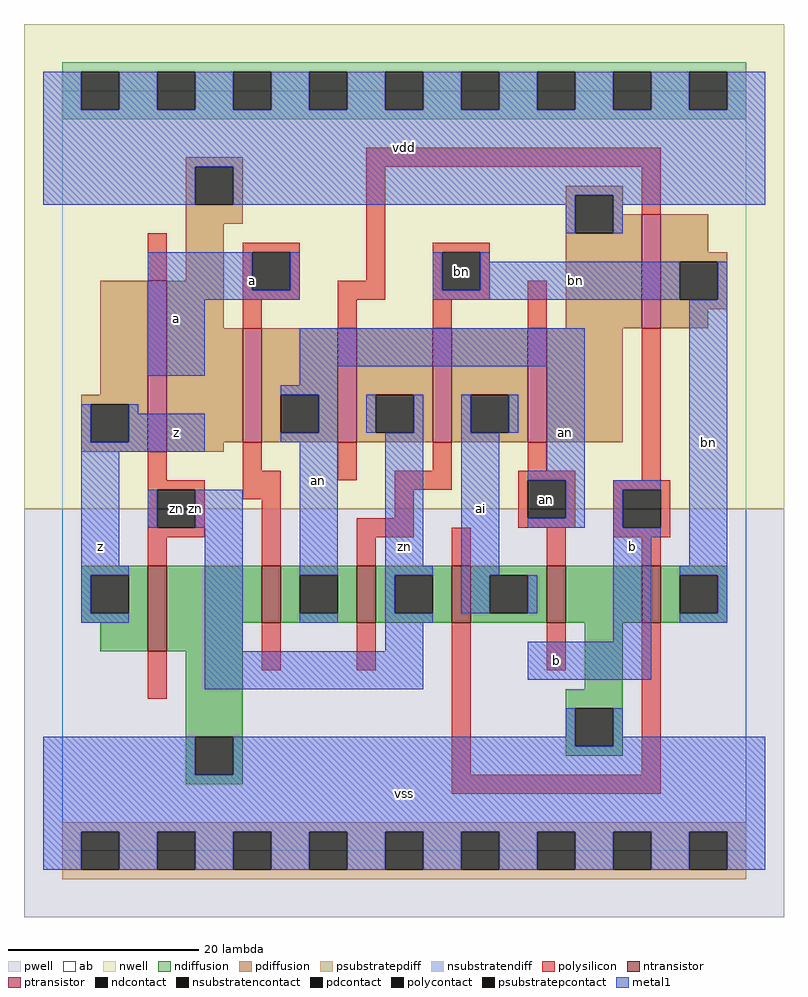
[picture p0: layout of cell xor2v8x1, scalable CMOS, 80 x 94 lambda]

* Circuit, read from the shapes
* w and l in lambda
.subckt xor2v8x1 a ai an b bn vdd vss z zn
M1 vss zn z vss nfet w=9 l=2
M2 an a vss vss nfet w=6 l=2
M3 zn bn an vss nfet w=6 l=2
M4 ai b zn vss nfet w=6 l=2
M5 vss an ai vss nfet w=6 l=2
M6 bn b vss vss nfet w=6 l=2
M7 vdd zn z vdd pfet w=18 l=2
M8 an a vdd vdd pfet w=12 l=2
M9 zn b an vdd pfet w=12 l=2
M10 ai bn zn vdd pfet w=12 l=2
M11 vdd an ai vdd pfet w=12 l=2
M12 bn b vdd vdd pfet w=12 l=2
.ends

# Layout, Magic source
magic
tech scmos
<< ab >>
rect 0 0 72 80
<< pwell >>
rect -4 -7 76 36
<< nwell >>
rect -4 36 76 87
<< polysilicon >>
rect 32 72 63 74
rect 9 60 11 65
rect 19 63 25 64
rect 19 59 20 63
rect 24 59 25 63
rect 32 60 34 72
rect 61 67 63 72
rect 19 58 25 59
rect 29 58 34 60
rect 39 63 45 64
rect 39 59 40 63
rect 44 59 45 63
rect 39 58 45 59
rect 19 55 21 58
rect 29 55 31 58
rect 39 55 41 58
rect 49 55 51 60
rect 9 39 11 42
rect 19 40 21 43
rect 9 38 15 39
rect 9 34 10 38
rect 14 34 15 38
rect 19 37 23 40
rect 29 39 31 43
rect 39 40 41 43
rect 49 40 51 43
rect 9 33 15 34
rect 9 30 11 33
rect 21 30 23 37
rect 35 38 41 40
rect 48 39 54 40
rect 61 39 63 55
rect 35 35 37 38
rect 31 33 37 35
rect 48 35 49 39
rect 53 35 54 39
rect 48 34 54 35
rect 58 38 64 39
rect 58 34 59 38
rect 63 34 64 38
rect 31 30 33 33
rect 41 30 43 34
rect 51 30 53 34
rect 58 33 64 34
rect 61 30 63 33
rect 9 16 11 21
rect 21 19 23 24
rect 31 19 33 24
rect 41 8 43 24
rect 51 19 53 24
rect 61 8 63 24
rect 41 6 63 8
<< ndiffusion >>
rect 2 29 9 30
rect 2 25 3 29
rect 7 25 9 29
rect 2 24 9 25
rect 4 21 9 24
rect 11 24 21 30
rect 23 29 31 30
rect 23 25 25 29
rect 29 25 31 29
rect 23 24 31 25
rect 33 29 41 30
rect 33 25 35 29
rect 39 25 41 29
rect 33 24 41 25
rect 43 29 51 30
rect 43 25 45 29
rect 49 25 51 29
rect 43 24 51 25
rect 53 24 61 30
rect 63 29 70 30
rect 63 25 65 29
rect 69 25 70 29
rect 63 24 70 25
rect 11 21 19 24
rect 13 12 19 21
rect 13 8 14 12
rect 18 8 19 12
rect 13 7 19 8
rect 55 17 59 24
rect 53 15 59 17
rect 53 11 54 15
rect 58 11 59 15
rect 53 10 59 11
<< pdiffusion >>
rect 13 72 19 73
rect 13 68 14 72
rect 18 68 19 72
rect 13 66 19 68
rect 13 60 17 66
rect 4 48 9 60
rect 2 47 9 48
rect 2 43 3 47
rect 7 43 9 47
rect 2 42 9 43
rect 11 55 17 60
rect 53 69 59 70
rect 53 65 54 69
rect 58 67 59 69
rect 58 65 61 67
rect 53 55 61 65
rect 63 63 68 67
rect 63 62 70 63
rect 63 58 65 62
rect 69 58 70 62
rect 63 57 70 58
rect 63 55 68 57
rect 11 43 19 55
rect 21 48 29 55
rect 21 44 23 48
rect 27 44 29 48
rect 21 43 29 44
rect 31 48 39 55
rect 31 44 33 48
rect 37 44 39 48
rect 31 43 39 44
rect 41 48 49 55
rect 41 44 43 48
rect 47 44 49 48
rect 41 43 49 44
rect 51 43 59 55
rect 11 42 17 43
<< metal1 >>
rect -2 78 2 82
rect 6 78 10 82
rect 14 78 18 82
rect 22 78 26 82
rect 30 78 34 82
rect 38 78 42 82
rect 46 78 50 82
rect 54 78 58 82
rect 62 78 66 82
rect 70 78 74 82
rect -2 72 74 78
rect -2 68 14 72
rect 18 69 74 72
rect 18 68 54 69
rect 53 65 54 68
rect 58 68 74 69
rect 58 65 59 68
rect 9 59 20 63
rect 24 59 25 63
rect 9 58 25 59
rect 39 59 40 63
rect 44 62 45 63
rect 44 59 65 62
rect 39 58 65 59
rect 69 58 70 62
rect 9 50 15 58
rect 25 51 55 55
rect 25 49 29 51
rect 23 48 29 49
rect 2 43 3 47
rect 7 46 8 47
rect 7 43 15 46
rect 27 44 29 48
rect 32 44 33 48
rect 37 44 38 48
rect 23 43 29 44
rect 2 42 15 43
rect 2 30 6 42
rect 9 34 10 38
rect 14 34 19 38
rect 2 29 7 30
rect 2 25 3 29
rect 2 24 7 25
rect 15 21 19 34
rect 25 29 29 43
rect 25 24 29 25
rect 34 30 38 44
rect 42 44 43 48
rect 47 44 48 48
rect 34 29 39 30
rect 34 25 35 29
rect 42 29 46 44
rect 51 40 55 51
rect 49 39 55 40
rect 53 35 55 39
rect 49 34 55 35
rect 58 38 63 39
rect 58 34 59 38
rect 58 33 63 34
rect 42 25 45 29
rect 49 25 50 29
rect 34 24 39 25
rect 34 21 38 24
rect 58 22 62 33
rect 66 30 70 58
rect 65 29 70 30
rect 69 25 70 29
rect 65 24 70 25
rect 15 17 38 21
rect 49 18 62 22
rect 53 12 54 15
rect -2 8 14 12
rect 18 11 54 12
rect 58 12 59 15
rect 58 11 74 12
rect 18 8 74 11
rect -2 2 74 8
rect -2 -2 2 2
rect 6 -2 10 2
rect 14 -2 18 2
rect 22 -2 26 2
rect 30 -2 34 2
rect 38 -2 42 2
rect 46 -2 50 2
rect 54 -2 58 2
rect 62 -2 66 2
rect 70 -2 74 2
<< ntransistor >>
rect 9 21 11 30
rect 21 24 23 30
rect 31 24 33 30
rect 41 24 43 30
rect 51 24 53 30
rect 61 24 63 30
<< ptransistor >>
rect 9 42 11 60
rect 61 55 63 67
rect 19 43 21 55
rect 29 43 31 55
rect 39 43 41 55
rect 49 43 51 55
<< polycontact >>
rect 20 59 24 63
rect 40 59 44 63
rect 10 34 14 38
rect 49 35 53 39
rect 59 34 63 38
<< ndcontact >>
rect 3 25 7 29
rect 25 25 29 29
rect 35 25 39 29
rect 45 25 49 29
rect 65 25 69 29
rect 14 8 18 12
rect 54 11 58 15
<< pdcontact >>
rect 14 68 18 72
rect 3 43 7 47
rect 54 65 58 69
rect 65 58 69 62
rect 23 44 27 48
rect 33 44 37 48
rect 43 44 47 48
<< psubstratepcontact >>
rect 2 -2 6 2
rect 10 -2 14 2
rect 18 -2 22 2
rect 26 -2 30 2
rect 34 -2 38 2
rect 42 -2 46 2
rect 50 -2 54 2
rect 58 -2 62 2
rect 66 -2 70 2
<< nsubstratencontact >>
rect 2 78 6 82
rect 10 78 14 82
rect 18 78 22 82
rect 26 78 30 82
rect 34 78 38 82
rect 42 78 46 82
rect 50 78 54 82
rect 58 78 62 82
rect 66 78 70 82
<< psubstratepdiff >>
rect 0 2 72 3
rect 0 -2 2 2
rect 6 -2 10 2
rect 14 -2 18 2
rect 22 -2 26 2
rect 30 -2 34 2
rect 38 -2 42 2
rect 46 -2 50 2
rect 54 -2 58 2
rect 62 -2 66 2
rect 70 -2 72 2
rect 0 -3 72 -2
<< nsubstratendiff >>
rect 0 82 72 83
rect 0 78 2 82
rect 6 78 10 82
rect 14 78 18 82
rect 22 78 26 82
rect 30 78 34 82
rect 38 78 42 82
rect 46 78 50 82
rect 54 78 58 82
rect 62 78 66 82
rect 70 78 72 82
rect 0 77 72 78
<< labels >>
rlabel polycontact 12 36 12 36 6 zn
rlabel polycontact 42 61 42 61 6 bn
rlabel polycontact 51 37 51 37 6 an
rlabel metal1 4 32 4 32 6 z
rlabel metal1 12 44 12 44 6 z
rlabel metal1 14 36 14 36 6 zn
rlabel metal1 12 56 12 56 6 a
rlabel metal1 20 60 20 60 6 a
rlabel metal1 36 6 36 6 6 vss
rlabel metal1 27 39 27 39 6 an
rlabel metal1 36 32 36 32 6 zn
rlabel metal1 36 74 36 74 6 vdd
rlabel metal1 52 20 52 20 6 b
rlabel metal1 53 44 53 44 6 an
rlabel metal1 44 36 44 36 6 ai
rlabel metal1 60 32 60 32 6 b
rlabel metal1 68 43 68 43 6 bn
rlabel metal1 54 60 54 60 6 bn
<< end >>
